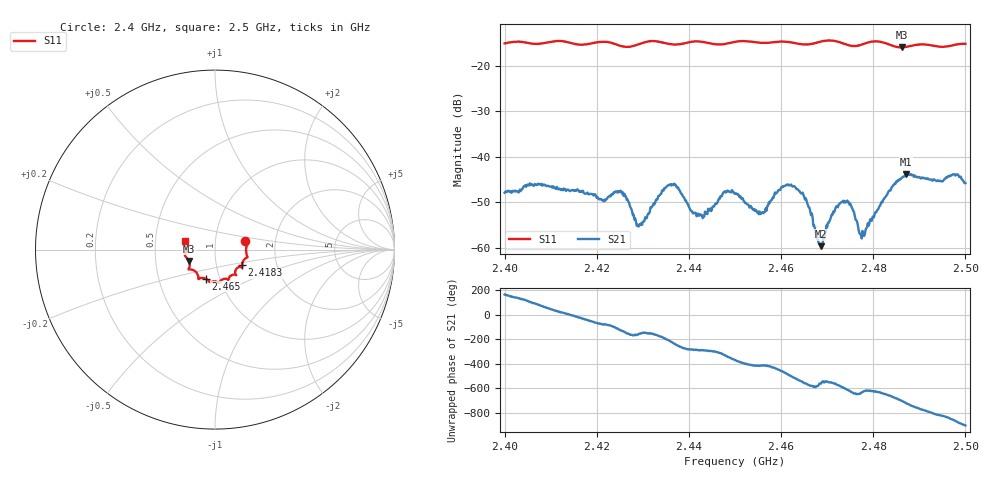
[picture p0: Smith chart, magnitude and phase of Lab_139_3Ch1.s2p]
# Hz S RI R 50
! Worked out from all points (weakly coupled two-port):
!   601 points, 2.4 GHz to 2.5 GHz, reference 50 ohm
!   highest |S21| = -43.78 dB at 2.4872 GHz (marker M1); lowest = -59.6 dB at 2.4687 GHz (marker M2)
!   lowest |S11| = -16.0 dB at 2.4862 GHz (marker M3), VSWR 1.38, Z = 37.1 - j4.82 ohm
!   |S11| at or under -10 dB: start of sweep to end of sweep
!   S12 and S22 are empty: the file has one direction only
!   S11 on the Smith chart (normalised r, x): 2.4 GHz: 1.40, +0.13; 2.4183 GHz: 1.33, -0.24; 2.465 GHz: 0.86, -0.29; 2.5 GHz: 0.71, +0.07
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2.4e9  0.1689 0.0459  -0.00391 0.000963  0 0  0 0
2.416667e9  0.1548 -0.0681  0.0037 -0.00199  0 0  0 0
2.418333e9  0.15 -0.0867  0.00266 -0.00281  0 0  0 0
2.4255e9  0.1297 -0.0984  -0.00263 -0.00291  0 0  0 0
2.429167e9  0.1123 -0.1303  -0.0016 -0.000647  0 0  0 0
2.433333e9  0.1169 -0.1413  -0.00365 -0.000539  0 0  0 0
2.436833e9  0.0915 -0.1434  -0.00279 0.00422  0 0  0 0
2.442833e9  0.0723 -0.1675  0.000745 0.00216  0 0  0 0
2.447833e9  0.0364 -0.1687  0.0037 0.00195  0 0  0 0
2.45e9  0.0251 -0.1804  0.0039 -0.000645  0 0  0 0
2.455667e9  0.00192 -0.1775  0.00137 -0.00193  0 0  0 0
2.460833e9  -0.0303 -0.1804  -0.00203 -0.00432  0 0  0 0
2.465e9  -0.0529 -0.162  -0.00343 0.00119  0 0  0 0
2.466667e9  -0.0713 -0.1575  -0.00179 0.00157  0 0  0 0
2.468667e9  -0.0881 -0.1611  -0.000962 0.000402  0 0  0 0
2.473e9  -0.0921 -0.1524  -0.00216 0.0023  0 0  0 0
2.474833e9  -0.1004 -0.1324  -0.000478 0.00294  0 0  0 0
2.477667e9  -0.1294 -0.1119  6.86e-05 0.00153  0 0  0 0
2.483333e9  -0.142 -0.0957  0.00203 0.00364  0 0  0 0
2.486167e9  -0.1446 -0.0634  0.00562 0.00166  0 0  0 0
2.487167e9  -0.151 -0.0534  0.00646 -0.000388  0 0  0 0
2.5e9  -0.1669 0.0472  -0.00511 0.000518  0 0  0 0
